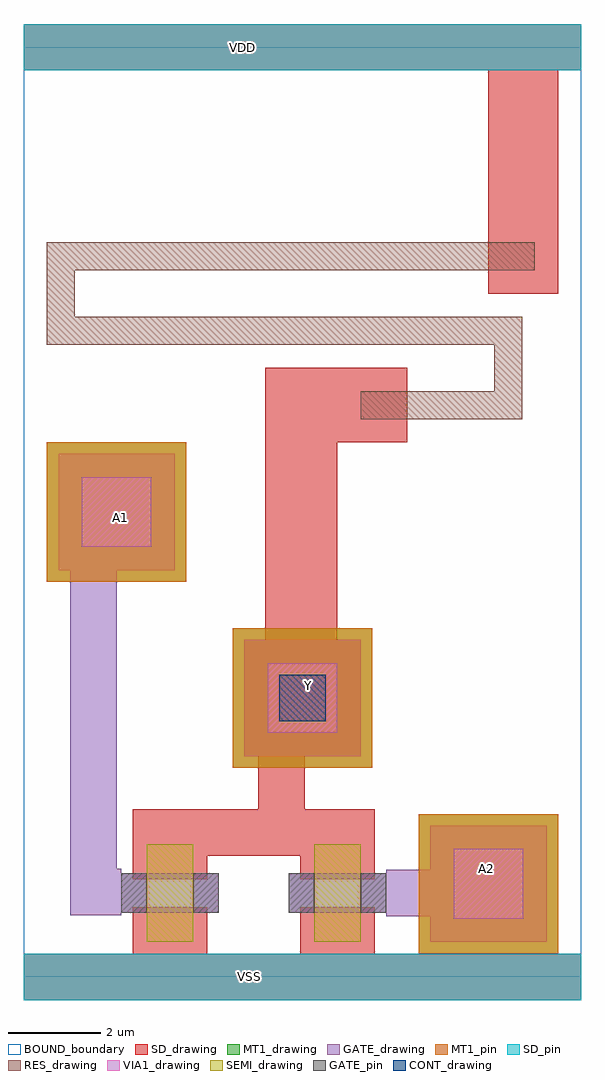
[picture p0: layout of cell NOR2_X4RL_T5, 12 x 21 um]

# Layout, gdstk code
from math import pi, radians
import gdstk
lib = gdstk.Library(unit=1e-6, precision=1e-09)
def R(c, l, rs):  # rectangles x0, y0, x1, y1
    for r in rs: c.add(gdstk.rectangle(r[:2], r[2:], *l))
def P(c, l, *ps):  # polygons
    for p in ps: c.add(gdstk.Polygon(p, *l))
RES_drawing = (1, 0)
SEMI_drawing = (3, 0)
SD_drawing = (10, 0)
SD_pin = (10, 3)
GATE_drawing = (11, 0)
GATE_pin = (11, 3)
MT1_drawing = (20, 0)
MT1_pin = (20, 3)
CONT_drawing = (30, 0)
VIA1_drawing = (41, 0)
BOUND_boundary = (150, 5)

nch_cdns_772545066640 = lib.new_cell('nch_CDNS_772545066640')
R(nch_cdns_772545066640, SEMI_drawing, [(-1.05,-0.5,1.05,0.5)])
R(nch_cdns_772545066640, SD_drawing, [(-1.3,-0.8,-0.3,0.8), (0.3,-0.8,1.3,0.8)])
R(nch_cdns_772545066640, GATE_drawing, [(-0.425,-1.05,0.425,1.05)])
R(nch_cdns_772545066640, GATE_pin, [(-0.425,-1.05,0.425,-0.5), (-0.425,0.5,0.425,1.05)])

gate_mt1_cdns_7725450666 = lib.new_cell('GATE_MT1_CDNS_772545066640')
R(gate_mt1_cdns_7725450666, GATE_drawing, [(-1.25,-1.25,1.25,1.25)])
R(gate_mt1_cdns_7725450666, MT1_drawing, [(-1.25,-1.25,1.25,1.25)])
R(gate_mt1_cdns_7725450666, VIA1_drawing, [(-0.75,-0.75,0.75,0.75)])

sd_gate_cdns_77254506664 = lib.new_cell('SD_GATE_CDNS_772545066641')
R(sd_gate_cdns_77254506664, SD_drawing, [(-1.25,-1.25,1.25,1.25)])
R(sd_gate_cdns_77254506664, GATE_drawing, [(-1.25,-1.25,1.25,1.25)])
R(sd_gate_cdns_77254506664, CONT_drawing, [(-0.5,-0.5,0.5,0.5)])

nor2_x4rl_t5 = lib.new_cell('NOR2_X4RL_T5')
R(nor2_x4rl_t5, SD_drawing, [(0,-0.5,12,0.5), (5.2,7.25,6.75,13.1), (6.75,11.5,8.25,13.1), (10,14.7,11.5,16.3), (0,19.5,12,20.5)])
R(nor2_x4rl_t5, SD_pin, [(0,-0.5,12,0.5), (0,19.5,12,20.5)])
P(nor2_x4rl_t5, GATE_drawing, [(7.9,1.3),(7.9,2.3),(7.8,2.3),(7.8,2.175),(7.75,2.175),(7.75,1.425),(7.8,1.425),(7.8,1.3)],
  [(2,2.325),(2,1.325),(2.1,1.325),(2.1,1.425),(2.15,1.425),(2.15,2.175),(2.1,2.175),(2.1,2.325)])
R(nor2_x4rl_t5, MT1_drawing, [(8.5,0.5,11.5,3.5), (4.5,4.5,7.5,7.5), (0.5,8.5,3.5,11.5)])
R(nor2_x4rl_t5, MT1_pin, [(8.5,0.5,11.5,3.5), (4.5,4.5,7.5,7.5), (0.5,8.5,3.5,11.5)])
R(nor2_x4rl_t5, BOUND_boundary, [(0,0,12,20)])
nor2_x4rl_t5.add(gdstk.FlexPath([(8.25,1.8),(7.9,1.8)], 1, ends=(0.5, 0), simple_path=True, layer=11, datatype=0))  # GATE_drawing
nor2_x4rl_t5.add(gdstk.FlexPath([(1.5,1.825),(1.5,8.75)], 1, ends=(0.5, 0), simple_path=True, layer=11, datatype=0))  # GATE_drawing
nor2_x4rl_t5.add(gdstk.FlexPath([(10.75,16.3),(10.75,19.5)], 1.5, ends="flush", simple_path=True, layer=10, datatype=0))  # SD_drawing
nor2_x4rl_t5.add(gdstk.FlexPath([(5.55,3.1),(5.55,4.8)], 1, ends=(0.5, 0), simple_path=True, layer=10, datatype=0))  # SD_drawing
nor2_x4rl_t5.add(gdstk.FlexPath([(5.55,3.1),(7.55,3.1)], 1, ends=(0.5, 0), simple_path=True, layer=10, datatype=0))  # SD_drawing
nor2_x4rl_t5.add(gdstk.FlexPath([(2.35,3.1),(5.55,3.1)], 1, ends=(0, 0.5), simple_path=True, layer=10, datatype=0))  # SD_drawing
nor2_x4rl_t5.add(gdstk.FlexPath([(8.25,12.3),(10.425,12.3),(10.425,13.9),(0.8,13.9),(0.8,15.5),(10,15.5)], 0.6, ends=(1, 1), simple_path=True, layer=1, datatype=0))  # RES_drawing
nor2_x4rl_t5.add(gdstk.Reference(nch_cdns_772545066640, (6.75,1.8), rotation=pi/2))
nor2_x4rl_t5.add(gdstk.Reference(nch_cdns_772545066640, (3.15,1.8), rotation=pi/2))
nor2_x4rl_t5.add(gdstk.Reference(gate_mt1_cdns_7725450666, (10,2)))
nor2_x4rl_t5.add(gdstk.Reference(gate_mt1_cdns_7725450666, (6,6)))
nor2_x4rl_t5.add(gdstk.Reference(gate_mt1_cdns_7725450666, (2,10)))
nor2_x4rl_t5.add(gdstk.Reference(sd_gate_cdns_77254506664, (6,6)))
nor2_x4rl_t5.add(gdstk.Label('Y', (6.125,6.275), layer=20, texttype=3))
nor2_x4rl_t5.add(gdstk.Label('A1', (2.075,9.875), layer=20, texttype=3))
nor2_x4rl_t5.add(gdstk.Label('A2', (9.95,2.325), layer=20, texttype=3))
nor2_x4rl_t5.add(gdstk.Label('VDD', (4.7,20), layer=10, texttype=3))
nor2_x4rl_t5.add(gdstk.Label('VSS', (4.85,0), layer=10, texttype=3))

lib.write_gds('NOR2_X4RL_T5.gds')
